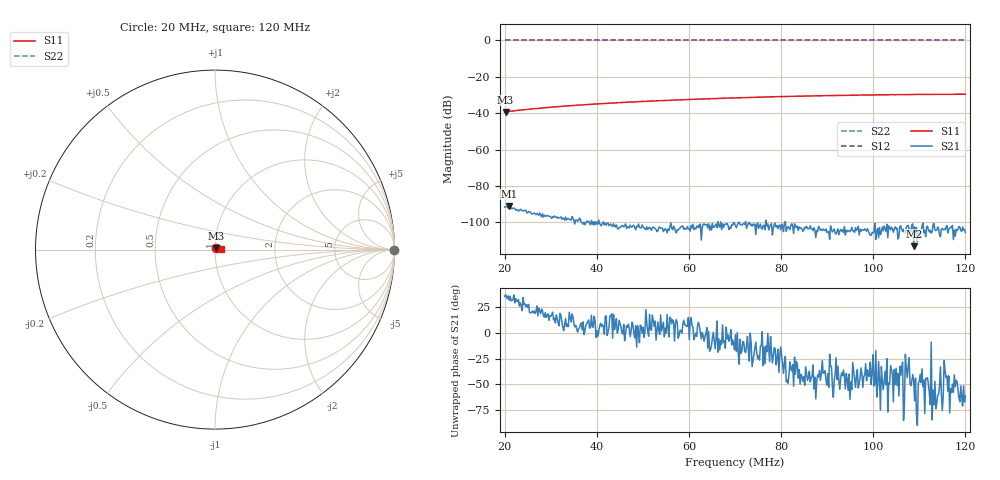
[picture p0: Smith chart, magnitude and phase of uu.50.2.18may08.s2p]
! Anritsu VNA Master:  Model: MS2036C/10/77
! SN:  1601066
! /bd0/18may08.cable.cal/uu.50.2.s2p
! Existing Calibration Information:
! TYPE:  Current Settings,  Active Cal Settings
! TIME:  05/08/2018 06:03:32 PM,  05/08/2018 05:57:55 PM
! INTERNAL TEMP:  49.3 C,  49.3 C
! # POINTS:  500,  500
! START FREQ:  20.000 MHz,  20.000 MHz
! STOP FREQ:  120.000 MHz,  120.000 MHz
! SOURCE POWER:  High,  High
! IFBW:  50 Hz,  50 Hz
! AVG FACTOR:  1 ,  1
! REF PLANE 1:  0 mm,  0 mm
! REF PLANE 2:  0 mm,  0 mm
! CAL TYPE:  Full S11,  Full S11
! CAL METHOD:  SOLT,  SOLT
! CAL LINE TYPE:  Coax,  Coax
! DUT PORT 1:  K-Conn(F),  K-Conn(F)
! DUT PORT 2:  K-Conn(F),  K-Conn(F)
! CAL STATUS:  OK: Accuracy High,  --
# GHZ S DB R 50.0
! FREQ.GHZ  S11DB  S11A  S21DB  S21A  S12DB  S12A  S22DB  S22A
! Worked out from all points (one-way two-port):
!   500 points, 20 MHz to 120 MHz, reference 50 ohm
!   highest |S21| = -90.96 dB at 21 MHz (marker M1); lowest = -113.1 dB at 108.8 MHz (marker M2)
!   lowest |S11| = -39.3 dB at 20.2 MHz (marker M3), VSWR 1.02, Z = 50.6 + j0.915 ohm
!   |S11| at or under -10 dB: start of sweep to end of sweep
!   |S22| runs from 0.0 to 0.0 dB; largest |S21 - S12| = 1
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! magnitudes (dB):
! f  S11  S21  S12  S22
! 20 MHz  -39.3  -91.6  0.0  0.0
! 20.2 MHz  -39.3  -91.4  0.0  0.0
! 21 MHz  -39.0  -91.0  0.0  0.0
! 23.81 MHz  -38.1  -93.7  0.0  0.0
! 26.01 MHz  -37.6  -95.3  0.0  0.0
! 30.82 MHz  -36.5  -96.5  0.0  0.0
! 33.83 MHz  -35.9  -97.9  0.0  0.0
! 36.83 MHz  -35.4  -100.2  0.0  0.0
! 41.44 MHz  -34.7  -99.7  0.0  0.0
! 45.05 MHz  -34.1  -102.6  0.0  0.0
! 47.66 MHz  -33.8  -102.6  0.0  0.0
! 53.47 MHz  -33.2  -102.7  0.0  0.0
! 62.48 MHz  -32.2  -100.9  0.0  0.0
! 70.1 MHz  -31.5  -101.8  0.0  0.0
! 79.12 MHz  -30.9  -101.8  0.0  0.0
! 86.73 MHz  -30.5  -103.5  0.0  0.0
! 100.8 MHz  -30.0  -104.9  0.0  0.0
! 103.4 MHz  -29.8  -101.9  0.0  0.0
! 106.8 MHz  -29.8  -105.7  0.0  0.0
! 108.8 MHz  -29.7  -113.1  0.0  0.0
! 116.2 MHz  -29.6  -105.8  0.0  0.0
! 120 MHz  -29.5  -105.6  0.0  0.0
